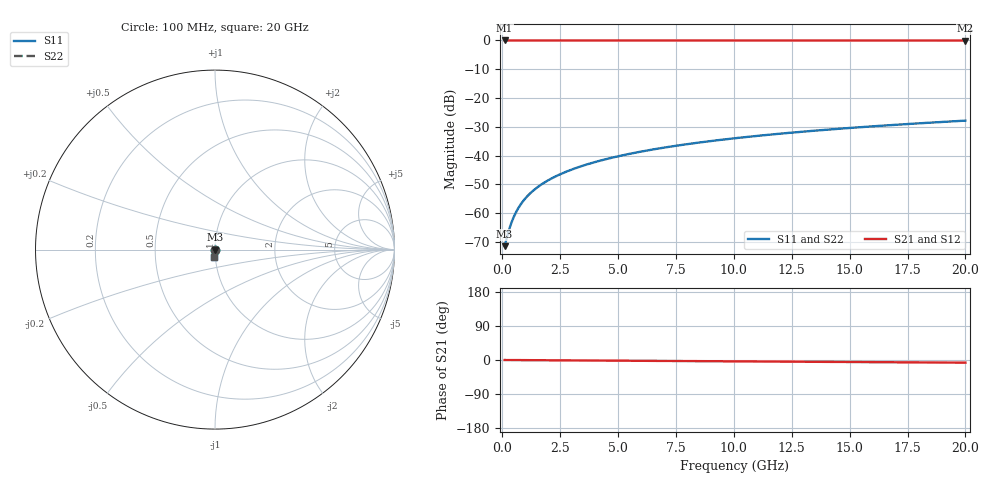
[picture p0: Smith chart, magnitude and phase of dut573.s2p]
! Touchstone file exported from HFSS 2026.1.0
!  File:  C:/ffzhzh/LocalFiles/Ansys_Project_Files/temp_train_TSV_573_1783024787_4048.aedt
!  Generated:  04:41:36 AM Jul  3, 2026
!  Design:  TSV
!  Project:  temp_train_TSV_573_1783024787_4048
! Variables:
!  h_bsmrdl = 2um
!  h_ox = 20um
!  h_rdl = 5um
!  h_sub = 71.4um
!  h_tmrdl = 5um
!  h_tsv = 71.4um
!  h_via = 3um
!  l_bsmrdl = 300um
!  l_sub = 413.66um
!  l_tmrdl = 200um
!  m_sub = 200um
!  pitch = 20.43um
!  r_tsv = 6.83um
!  s_tmrdl = 10um
!  w_bsmrdl = 18um
!  w_sub = 500um
!  w_tmrdl = 12um
!  x_tsv_center1 = 206um
!  x_tsv_center2 = 524um
!  x_tsv_center3 = 736um
!  x_tsv_center4 = 1054um
!  x_tsv_center5 = 1266um
!  x_tsv_center6 = 1584um
# GHz S MA R 50.000000
! Terminal data exported
! Port[1] = TSV1_1_T1
! Port[2] = TSV1_1_T2
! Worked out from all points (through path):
!   200 points, 100 MHz to 20 GHz, reference 50 ohm
!   highest |S21| = 0.00 dB at 100 MHz (marker M1); lowest = 0.0 dB at 20 GHz (marker M2)
!   lowest |S11| = -71.5 dB at 100 MHz (marker M3), VSWR 1.00, Z = 50 - j0.0142 ohm
!   |S11| at or under -10 dB: start of sweep to end of sweep
!   |S22| runs from -71.5 to -27.9 dB; largest |S21 - S12| = 3.2e-15
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0.1  0.0002654 -32.3  0.9998 -0.0  0.9998 -0.0  0.0002654 -32.3
! Gamma 0 0 0 0
! Port Impedance 50 0 50 0
0.2  0.0003795 -49.9  0.9998 -0.1  0.9998 -0.1  0.0003795 -49.9
0.3  0.000525 -58.7  0.9997 -0.1  0.9997 -0.1  0.000525 -58.7
0.4  0.0006884 -63.7  0.9997 -0.2  0.9997 -0.2  0.0006884 -63.7
0.5  0.0008631 -67.1  0.9997 -0.2  0.9997 -0.2  0.0008631 -67.1
0.6  0.001045 -69.6  0.9996 -0.2  0.9996 -0.2  0.001045 -69.6
0.8  0.001421 -73.2  0.9996 -0.3  0.9996 -0.3  0.001421 -73.2
1.1  0.001998 -76.8  0.9995 -0.4  0.9995 -0.4  0.001998 -76.8
1.3  0.002385 -78.4  0.9995 -0.5  0.9995 -0.5  0.002385 -78.4
1.5  0.002773 -79.6  0.9995 -0.5  0.9995 -0.5  0.002773 -79.6
1.8  0.003355 -81.1  0.9994 -0.7  0.9994 -0.7  0.003355 -81.1
2.1  0.003939 -82.1  0.9994 -0.8  0.9994 -0.8  0.003939 -82.1
2.7  0.005112 -83.6  0.9993 -1.0  0.9993 -1.0  0.005112 -83.6
3.5  0.00669 -84.9  0.9992 -1.3  0.9992 -1.3  0.00669 -84.9
4.2  0.008084 -85.7  0.9991 -1.5  0.9991 -1.5  0.008084 -85.7
5  0.00969 -86.5  0.9991 -1.8  0.9991 -1.8  0.00969 -86.5
6.8  0.01334 -87.8  0.9988 -2.4  0.9988 -2.4  0.01334 -87.8
8.3  0.0164 -88.8  0.9987 -2.9  0.9987 -2.9  0.0164 -88.8
10.1  0.02008 -89.9  0.9985 -3.6  0.9985 -3.6  0.02008 -89.9
13.4  0.02684 -91.6  0.9982 -4.7  0.9982 -4.7  0.02684 -91.6
16.7  0.0336 -93.0  0.9978 -5.9  0.9978 -5.9  0.0336 -93.0
20  0.04039 -94.4  0.9973 -7.0  0.9973 -7.0  0.04039 -94.4
